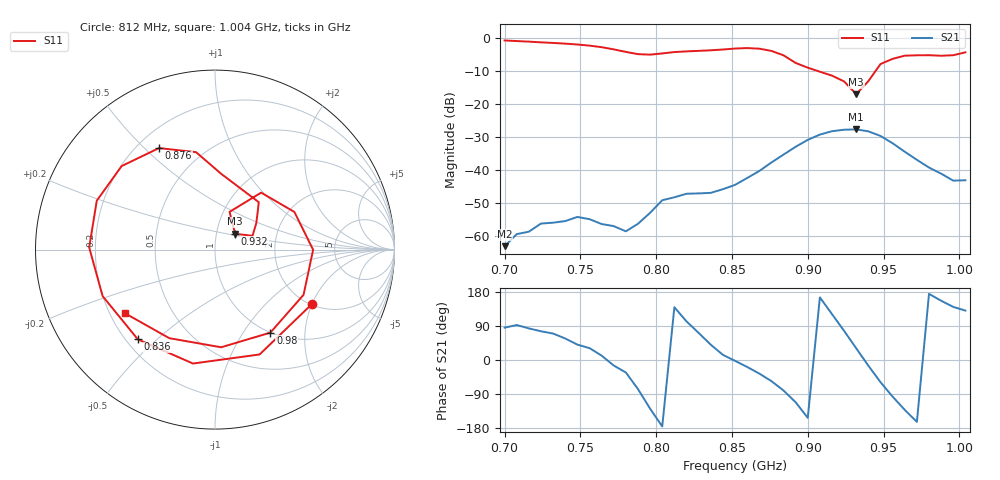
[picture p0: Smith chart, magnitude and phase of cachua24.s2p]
# Hz S RI R 50
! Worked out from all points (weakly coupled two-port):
!   39 points, 700 MHz to 1.004 GHz, reference 50 ohm
!   highest |S21| = -27.56 dB at 932 MHz (marker M1); lowest = -62.9 dB at 700 MHz (marker M2)
!   lowest |S11| = -16.9 dB at 932 MHz (marker M3), VSWR 1.33, Z = 61.6 + j11.1 ohm
!   |S11| at or under -10 dB: 907.3 MHz to 944.6 MHz (37.22 MHz wide, 4.02 % of centre)
!   S12 and S22 are empty: the file has one direction only
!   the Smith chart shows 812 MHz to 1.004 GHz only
!   S11 on the Smith chart (normalised r, x): 812 MHz: 2.04, -2.00; 836 MHz: 0.25, -0.44; 876 MHz: 0.29, +0.55; 932 MHz: 1.23, +0.22; 980 MHz: 1.00, -1.34; 1.004 GHz: 0.26, -0.30
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7e8  0.7631 0.5301  5.73e-05 0.000711  0 0  0 0
7.24e8  0.8307 -0.2582  0.000383 0.00152  0 0  0 0
7.4e8  0.4446 -0.7033  0.000938 0.00143  0 0  0 0
7.56e8  -0.1979 -0.7505  0.00156 0.000953  0 0  0 0
7.72e8  -0.6536 -0.1909  0.00139 -0.000362  0 0  0 0
7.8e8  -0.5805 0.2283  0.001 -0.000651  0 0  0 0
7.88e8  -0.2251 0.5307  0.000356 -0.00152  0 0  0 0
7.96e8  0.2581 0.5048  -0.00142 -0.00179  0 0  0 0
8.04e8  0.573 0.1446  -0.00353 -0.000284  0 0  0 0
8.12e8  0.5417 -0.3019  -0.00297 0.00256  0 0  0 0
8.2e8  0.2485 -0.5843  -0.000913 0.00434  0 0  0 0
8.36e8  -0.4301 -0.4998  0.00348 0.00297  0 0  0 0
8.52e8  -0.7009 0.0119  0.00604 -0.000227  0 0  0 0
8.76e8  -0.312 0.5656  0.00744 -0.0109  0 0  0 0
9e8  0.2439 0.2642  -0.0258 -0.0133  0 0  0 0
9.08e8  0.2371 0.2037  -0.0338 0.00893  0 0  0 0
9.32e8  0.1124 0.0879  0.036 0.0214  0 0  0 0
9.48e8  0.2572 0.3174  0.0174 -0.0284  0 0  0 0
9.56e8  0.4423 0.2098  -0.00304 -0.0256  0 0  0 0
9.64e8  0.5467 -0.000897  -0.0128 -0.0143  0 0  0 0
9.8e8  0.3085 -0.4626  -0.011 0.00106  0 0  0 0
1.004e9  -0.5017 -0.3546  -0.0046 0.00541  0 0  0 0
